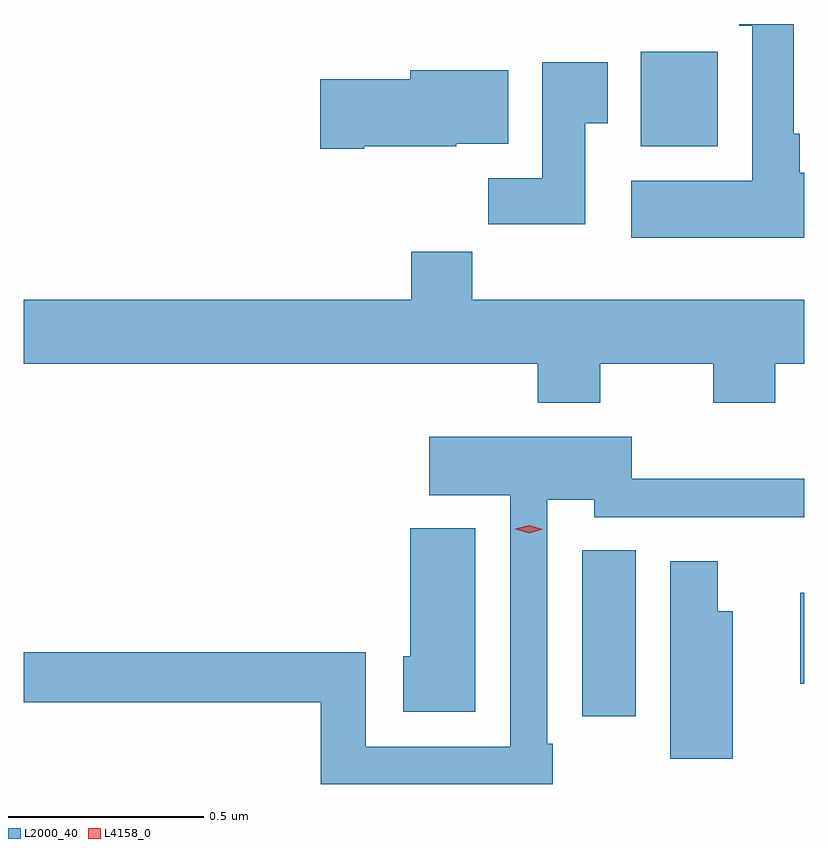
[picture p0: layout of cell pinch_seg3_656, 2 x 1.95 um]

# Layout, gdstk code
import gdstk
lib = gdstk.Library(unit=1e-6, precision=1e-09)
def R(c, l, rs):  # rectangles x0, y0, x1, y1
    for r in rs: c.add(gdstk.rectangle(r[:2], r[2:], *l))
def P(c, l, *ps):  # polygons
    for p in ps: c.add(gdstk.Polygon(p, *l))
L2000_40 = (2000, 40)
L4158_0 = (4158, 0)

pinch_seg3_656 = lib.new_cell('pinch_seg3_656')
R(pinch_seg3_656, L2000_40, [(1042.481,677.37,1042.618,677.795), (1043.039,677.453,1043.05,677.686), (1042.631,678.83,1042.828,679.072)])
P(pinch_seg3_656, L2000_40, [(1043.05,678.762),(1043.038,678.762),(1043.038,678.862),(1043.023,678.862),(1043.023,679.143),(1042.883,679.143),(1042.883,679.139),(1042.916,679.139),(1042.916,678.742),(1042.607,678.742),(1042.607,678.596),(1043.05,678.596)],
  [(1042.489,678.889),(1042.546,678.889),(1042.546,679.045),(1042.379,679.045),(1042.379,678.748),(1042.24,678.748),(1042.24,678.63),(1042.489,678.63)],
  [(1041.922,678.83),(1042.158,678.83),(1042.158,678.836),(1042.291,678.836),(1042.291,679.024),(1042.04,679.024),(1042.04,679.001),(1041.81,679.001),(1041.81,678.823),(1041.922,678.823)],
  [(1042.527,678.272),(1042.816,678.272),(1042.816,678.173),(1042.976,678.173),(1042.976,678.272),(1043.05,678.272),(1043.05,678.436),(1042.199,678.436),(1042.199,678.56),(1042.043,678.56),(1042.043,678.436),(1041.05,678.436),(1041.05,678.272),(1042.367,678.272),(1042.367,678.173),(1042.527,678.173)],
  [(1042.405,677.299),(1042.392,677.299),(1042.392,677.924),(1042.512,677.924),(1042.512,677.88),(1043.021,677.88),(1043.021,677.879),(1043.05,677.879),(1043.05,677.978),(1042.608,677.978),(1042.608,678.085),(1042.089,678.085),(1042.089,677.936),(1042.296,677.936),(1042.296,677.292),(1041.927,677.292),(1041.927,677.534),(1041.05,677.534),(1041.05,677.406),(1041.811,677.406),(1041.811,677.196),(1042.405,677.196)],
  [(1042.207,677.851),(1042.04,677.851),(1042.04,677.523),(1042.022,677.523),(1042.022,677.381),(1042.207,677.381)],
  [(1042.867,677.638),(1042.828,677.638),(1042.828,677.767),(1042.706,677.767),(1042.706,677.261),(1042.867,677.261)])
P(pinch_seg3_656, L4158_0, [(1042.345,677.839),(1042.31,677.849),(1042.31,677.849),(1042.31,677.85),(1042.345,677.859),(1042.38,677.848),(1042.38,677.848),(1042.38,677.848)])

lib.write_gds('pinch_seg3_656.gds')
